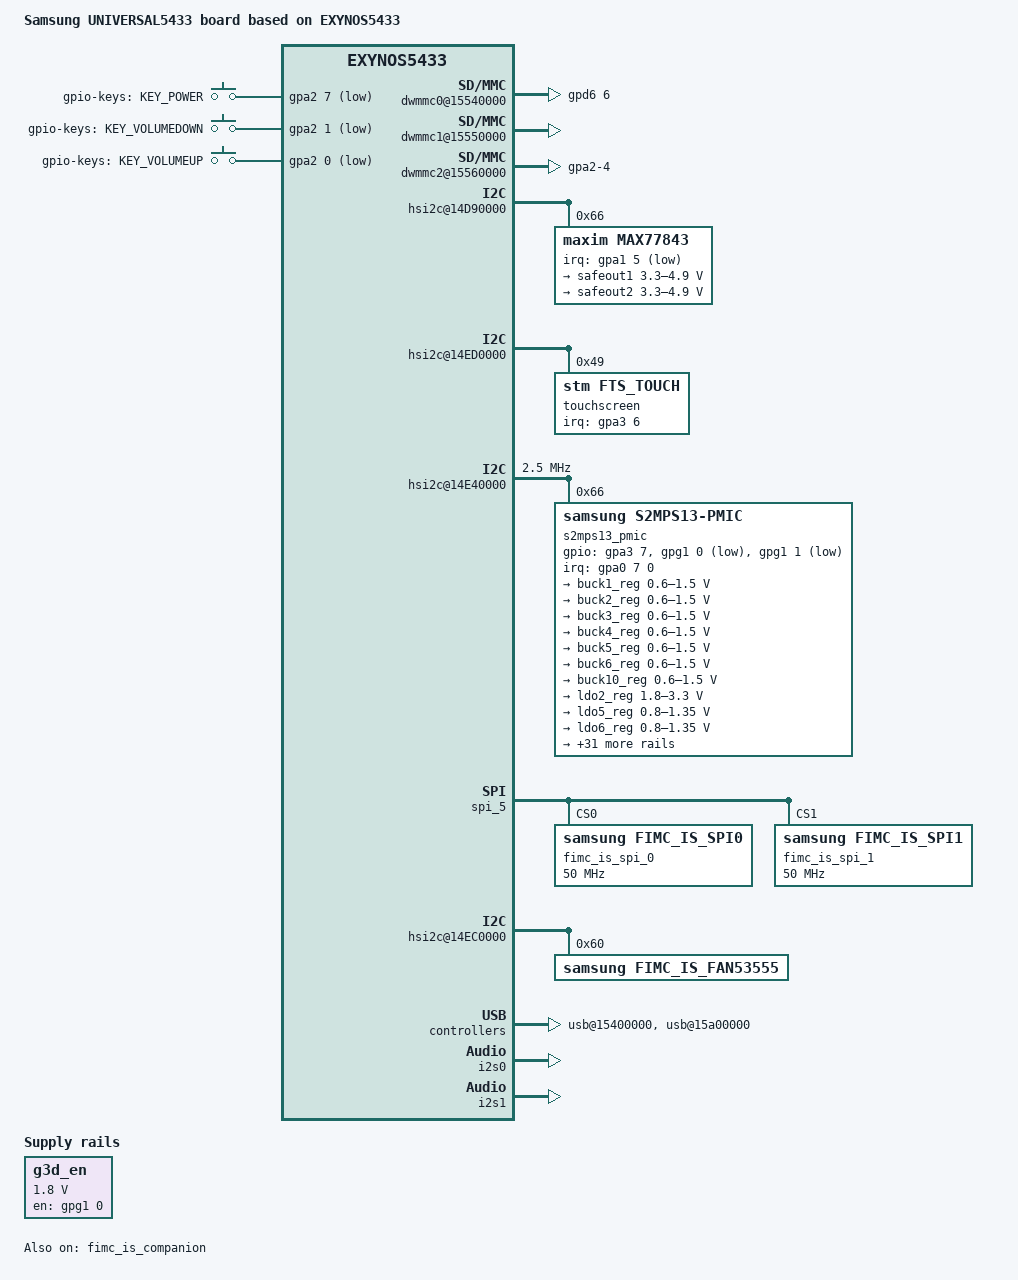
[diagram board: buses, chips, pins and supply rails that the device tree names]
/*
 * SAMSUNG UNIVERSAL5433 board device tree source
 *
 * Copyright (c) 2013 Samsung Electronics Co., Ltd.
 *		http://www.samsung.com
 *
 * This program is free software; you can redistribute it and/or modify
 * it under the terms of the GNU General Public License version 2 as
 * published by the Free Software Foundation.
*/

/dts-v1/;
#include "exynos5433.dtsi"
#include "exynos5433-universal5433_battery.dtsi"

/ {
	model = "Samsung UNIVERSAL5433 board based on EXYNOS5433";
	compatible = "samsung,UNIVERSAL5433", "samsung,exynos5433";

	aliases {
		spi0 = &spi_0;
		spi1 = &spi_1;
		spi2 = &spi_2;
		spi3 = &spi_3;
		spi4 = &spi_4;
		spi5 = &spi_5;
		spi6 = &spi_6;
	};

	chosen {
		bootargs = "console=ttySAC1,115200 vmalloc=256M ess_setup=0x26000000";
	};

	fixed-rate-clocks {
		oscclk {
			compatible = "samsung,exynos5433-oscclk";
			clock-frequency = <24000000>;
		};
	};

	dwmmc0@15540000 {
		status = "okay";
		num-slots = <1>;
		broken-cd;
		bypass-smu;
		clock-gate;
		enable-cclk-on-suspend;
		fixed_volt;
		only_once_tune;
		supports-highspeed;
		supports-hs200-1-8v-mode;
		supports-ddr200-1-8v-mode;
		enable-cache-control;
		use-fine-tuning;
		extra_tuning;
		bypass-for-allpass;
		desc-size = <3>;
		fifo-depth = <0x80>;
		qos_int_level = <267000>;
		use-enable-shift;
		enable-ulp-mode;
		card-detect-delay = <200>;
		samsung,dw-mshc-ddr200-delay-line = <0x40>;
		samsung,dw-mshc-ddr200-tx-delay-line = <0x20>;
		samsung,dw-mshc-txdt-crc-timer-fastlimit = <0x34>;
		samsung,dw-mshc-txdt-crc-timer-initval = <0x38>;
		samsung,dw-mshc-ciu-div = <3>;
		samsung,dw-mshc-sdr-timing = <3 0 2 0>;
		samsung,dw-mshc-sdr-hs-timing = <3 0 2 1>;
		samsung,dw-mshc-ddr-timing = <3 0 3 2>;
		samsung,dw-mshc-hs200-timing = <3 0 3 0>;
		samsung,dw-mshc-ddr200-timing = <1 1 2 0>;
		samsung,dw-mshc-ddr200-ulp-timing = <3 0 3 0>;
		clk_pin = "gpr0-0";
		clk_addr = "15690000.pinctrl";
		clk_val = <0x3>;
		clk_str_num = <6>;
		num-ref-clks = <10>;
		ciu_clkin = <25 50 50 100 200 100 200 400 400 200>;
		tp_mon_depth = <2>;
		              /* Byte/s,  MIF clk, CPU clk, KFC clk*/
		tp_mon_table = <8000000 825000	0	1300000
				0	0	0	0>;
		pinctrl-names = "default";
		pinctrl-0 = <&sd0_clk &sd0_cmd &sd0_rdqs &sd0_bus1 &sd0_bus4 &sd0_bus8>;
		gpios = <&gpd6 6 0>;
		slot@0 {
			reg = <0>;
			bus-width = <8>;
		};
	};

	dwmmc1@15550000 {
		status = "okay";
		num-slots = <1>;
		fixed_volt;
		clock-gate;
		enable-cclk-on-suspend;
		only_once_tune;
		supports-highspeed;
		not-allow-single-dma;
		desc-size = <3>;
		fifo-depth = <0x40>;
		card-detect-delay = <200>;
		qos_int_level = <200000>;
		samsung,dw-mshc-ciu-div = <3>;
		samsung,dw-mshc-sdr-timing = <3 0 2 1>;
		samsung,dw-mshc-ddr-timing = <3 0 3 2>;
		num-ref-clks = <8>;
		ciu_clkin = <25 50 50 100 200 100 200 400>;
		pinctrl-names = "default";
		pinctrl-0 = <&sd1_clk &sd1_cmd &sd1_bus1 &sd1_bus4>;

		slot@0 {
			reg = <0>;
			bus-width = <4>;
		};
	};

	dwmmc2@15560000 {
		status = "okay";
		num-slots = <1>;
		bypass-smu;
		supports-highspeed;
		clock-gate;
		enable-cclk-on-suspend;
		fix-fmp-size-mismatch;
		not-allow-single-dma;
		desc-size = <3>;
		use-fine-tuning;
		bypass-for-allpass;
		cd-type = <0>;
		fifo-depth = <0x40>;
		card-detect-delay = <200>;
		qos_int_level = <267000>;
		samsung,dw-mshc-ciu-div = <3>;
		samsung,dw-mshc-sdr-timing = <3 0 2 1>;
		samsung,dw-mshc-ddr-timing = <3 0 3 2>;
		clk_pin = "gpr4-0";
		clk_addr = "15690000.pinctrl";
		clk_val = <0x2>;
		clk_str_num = <6>;
		num-ref-clks = <8>;
		ciu_clkin = <25 50 50 100 200 100 200 400>;
		pinctrl-names = "default";
		pinctrl-0 = <&sd2_clk &sd2_cmd &sd2_cd &sd2_bus1 &sd2_bus4 &dwmmc2_cd_ext_irq>;

		gpio-controller;
		#gpio-cells = <2>;
		cd-gpio = <&gpa2 4 0xf>;

		slot@0 {
			reg = <0>;
			bus-width = <4>;
			disable-wp;
		};
	};

	pinctrl@10580000 {
		gpa2_pull_up: gpa2_pull_up_for_gpio_key {
			samsung,pins = "gpa2-0", "gpa2-1", "gpa2-7";
			samsung,pin-function = <0xf>;
			samsung,pin-pud = <3>;
			samsung,pin-drv = <0>;
		};
		dwmmc2_cd_ext_irq: dwmmc2_cd_ext_irq {
			samsung,pins = "gpa2-4";
			samsung,pin-function = <0xf>;
			samsung,pin-pud = <3>;
			samsung,pin-drv = <0>;
		};
		pmic_irq: pmic-irq {
			samsung,pins = "gpa0-7";
			samsung,pin-pud = <3>;
			samsung,pin-drv = <3>;
		};

		chg_irq: chg-irq {
			samsung,pins = "gpa1-5";
			samsung,pin-function = <0>;
			samsung,pin-pud = <3>;
			samsung,pin-drv = <3>;
		};

		/* Warm reset information from AP */
		pm_wrsti: pm-wrsti {
			samsung,pins = "gpf5-4";
			samsung,pin-con-pdn = <3>;
		};
	};

	gpio_keys {
		compatible = "gpio-keys";
		#address-cells = <1>;
		#size-cells = <0>;
		pinctrl-names = "default";
		pinctrl-0 = <&gpa2_pull_up>;
		button@1 {
			label = "gpio-keys: KEY_POWER";
			interrupts = <7 0 0>;
			interrupt-parent = <&gpa2>;
			linux,code = <116>;
			gpios = <&gpa2 7 0xf>;
			gpio-key,wakeup = <1>;
		};
		button@2 {
			label = "gpio-keys: KEY_VOLUMEDOWN";
			interrupts = <1 0 0>;
			interrupt-parent = <&gpa2>;
			linux,code = <114>;
			gpios = <&gpa2 1 0xf>;
		};
		button@3 {
			label = "gpio-keys: KEY_VOLUMEUP";
			interrupts = <0 0 0>;
			interrupt-parent = <&gpa2>;
			linux,code = <115>;
			gpios = <&gpa2 0 0xf>;
		};
	};

	hsi2c@14D90000 {
		max77843@66 {
			compatible = "maxim,max77843";
			reg = <0x66>;
			pinctrl-names = "default";
			pinctrl-0 = <&chg_irq>;
			max77843,irq-gpio = <&gpa1 5 1>;
			max77843,wakeup;

			regulators {
				safeout1: ESAFEOUT1 {
					regulator-compatible = "safeout1";
					regulator-name = "safeout1_range";
					regulator-min-microvolt = <3300000>;
					regulator-max-microvolt = <4900000>;
					regulator-boot-on;
				};

				safeout2: ESAFEOUT2 {
					regulator-compatible = "safeout2";
					regulator-name = "safeout2_range";
					regulator-min-microvolt = <3300000>;
					regulator-max-microvolt = <4900000>;
				};
			};
		};
	};

	pinctrl@10580000 {
		attn_irq: attn-irq {
			samsung,pins = "gpa3-6";
			samsung,pin-function = <0xf>;
			samsung,pin-pud = <0>;
			samsung,pin-drv = <0>;
		};

		attn_input: attn-input {
			samsung,pins = "gpa3-6";
			samsung,pin-function = <0>;
			samsung,pin-pud = <1>;
			samsung,pin-drv = <0>;
		};
	};

	pinctrl@14CE0000 {
		i2c_pdn_off: i2c-pdn_off {
			samsung,pins = "gpj1-1", "gpj1-0";
			samsung,pin-con-pdn = <2>;
			samsung,pin-pud-pdn = <1>;
		};
	};

	hsi2c@14D90000 {
		status = "okay";

		max77843@66 {
			status = "okay";
		};
	};

	hsi2c@14ED0000 {
		status = "okay";
		touchscreen@20 {
			compatible = "stm,fts_touch";
			reg = <0x49>;
			pinctrl-names = "on_state", "off_state";
			pinctrl-0 = <&attn_irq>;
			pinctrl-1 = <&attn_input &i2c_pdn_off>;
			stm,irq_gpio = <&gpa3 6 0>;
			stm,irq_type = <8200>;
			stm,max_coords = <1439 2559>;	/* x y */
			stm,regulator_dvdd = "tsp_io";
			stm,regulator_avdd = "tsp_avdd";
			stm,firmwaire_name = "tsp_stm/stm_t.fw";
		};
	};

	g3d_en: fixedregulator@0 {
		compatible = "regulator-fixed";
		regulator-name = "G3D_EN";
		regulator-min-microvolt = <1800000>;
		regulator-max-microvolt = <1800000>;
		gpio = <&gpg1 0 0x1>;
		enable-active-high;
		regulator-boot-on;
		/* startup-delay-us = <70000>; */
	};

	hsi2c@14E40000 {
		status = "okay";
		samsung,hs-mode;
		clock-frequency = <2500000>;

		s2mps13_pmic@66 {
			compatible = "samsung,s2mps13-pmic";
			reg = <0x66>;
			interrupts = <7 0 0>;
			interrupt-parent = <&gpa0>;
			pinctrl-names = "default";
			pinctrl-0 = <&pmic_irq &pm_wrsti>;
			gpios = <&gpa3 7 0>, <&gpg1 0 0x1>, <&gpg1 1 0x1>;
			smpl_warn_en = <0>; /* 1 : enable , 0 : disable*/
			g3d_en = <0>; /* 1 : enable , 0 : disable */
			dvs_en = <1>; /* 1 : enable , 0 : disable */
			/* RTC: wtsr/smpl */
			wtsr_en = <1>; /* enable */
			smpl_en = <1>; /* enable */
			wtsr_timer_val = <3>;	/* 1000ms */
			smpl_timer_val = <4>;	/* 500ms */
			check_jigon = <0>; /* do not check jigon */
			/* RTC: If it's first boot, reset rtc to 1/1/2014 12:00:00(Wed) */
			init_time,sec = <0>;
			init_time,min = <0>;
			init_time,hour = <12>;
			init_time,mday = <1>;
			init_time,mon = <0>;
			init_time,year = <114>;
			init_time,wday = <3>;

			regulators {
				buck1_reg: BUCK1 {
					regulator-name = "vdd_mif";
					regulator-min-microvolt = <600000>;
					regulator-max-microvolt = <1500000>;
					regulator-always-on;
					regulator-boot-on;
					regulator-ramp-delay = <12000>;
					regulator-initial-mode = <1>;
				};

				buck2_reg: BUCK2 {
					regulator-name = "vdd_eagle";
					regulator-min-microvolt = <600000>;
					regulator-max-microvolt = <1500000>;
					regulator-always-on;
					regulator-boot-on;
					regulator-ramp-delay = <12000>;
					regulator-initial-mode = <1>;
				};

				buck3_reg: BUCK3 {
					regulator-name = "vdd_kfc";
					regulator-min-microvolt = <600000>;
					regulator-max-microvolt = <1500000>;
					regulator-always-on;
					regulator-boot-on;
					regulator-ramp-delay = <12000>;
					regulator-initial-mode = <1>;
				};

				buck4_reg: BUCK4 {
					regulator-name = "vdd_int";
					regulator-min-microvolt = <600000>;
					regulator-max-microvolt = <1500000>;
					regulator-always-on;
					regulator-boot-on;
					regulator-ramp-delay = <12000>;
					regulator-initial-mode = <1>;
				};

				buck5_reg: BUCK5 {
					regulator-name = "vdd_disp_cam0";
					regulator-min-microvolt = <600000>;
					regulator-max-microvolt = <1500000>;
					regulator-always-on;
					regulator-boot-on;
					regulator-ramp-delay = <12000>;
					regulator-initial-mode = <1>;
				};

				buck6_reg: BUCK6 {
					regulator-name = "vdd_g3d";
					regulator-min-microvolt = <600000>;
					regulator-max-microvolt = <1500000>;
					regulator-always-on;
					regulator-boot-on;
					regulator-ramp-delay = <12000>;
					regulator-initial-mode = <1>;
				};

				buck10_reg: BUCK10 {
					regulator-name = "vdd_mem2";
					regulator-min-microvolt = <600000>;
					regulator-max-microvolt = <1500000>;
					regulator-always-on;
					regulator-boot-on;
					regulator-ramp-delay = <12000>;
					regulator-initial-mode = <1>;
				};

				ldo2_reg: LDO2 {
					regulator-name = "vqmmc";
					regulator-min-microvolt = <1800000>;
					regulator-max-microvolt = <3300000>;
					regulator-boot-on;
					regulator-ramp-delay = <12000>;
					regulator-initial-mode = <1>;
				};

				ldo5_reg: LDO5 {
					regulator-name = "vdd_ldo5";
					regulator-min-microvolt = <800000>;
					regulator-max-microvolt = <1350000>;
					regulator-always-on;
					regulator-initial-mode = <1>;
				};

				ldo6_reg: LDO6 {
					regulator-name = "vdd_ldo6";
					regulator-min-microvolt = <800000>;
					regulator-max-microvolt = <1350000>;
					regulator-always-on;
					regulator-initial-mode = <1>;
				};

				ldo7_reg: LDO7 {
					regulator-name = "vdd_ldo7";
					regulator-min-microvolt = <1000000>;
					regulator-max-microvolt = <2100000>;
					regulator-always-on;
					regulator-initial-mode = <1>;
				};

				ldo8_reg: LDO8 {
					regulator-name = "vdd_ldo8";
					regulator-min-microvolt = <1000000>;
					regulator-max-microvolt = <2100000>;
					regulator-always-on;
					regulator-initial-mode = <3>;
				};

				ldo9_reg: LDO9 {
					regulator-name = "vdd_ldo9";
					regulator-min-microvolt = <1000000>;
					regulator-max-microvolt = <2100000>;
					regulator-always-on;
					regulator-initial-mode = <1>;
				};

				ldo10_reg: LDO10 {
					regulator-name = "vdd_ldo10";
					regulator-min-microvolt = <1400000>;
					regulator-max-microvolt = <3400000>;
					regulator-always-on;
					regulator-initial-mode = <1>;
				};

				ldo11_reg: LDO11 {
					regulator-name = "vdd_ldo11";
					regulator-min-microvolt = <800000>;
					regulator-max-microvolt = <1350000>;
					regulator-always-on;
					regulator-initial-mode = <1>;
				};

				ldo12_reg: LDO12 {
					regulator-name = "vdd_ldo12";
					regulator-min-microvolt = <800000>;
					regulator-max-microvolt = <1350000>;
					regulator-always-on;
					regulator-initial-mode = <1>;
				};

				ldo13_reg: LDO13 {
					regulator-name = "vdd_ldo13";
					regulator-min-microvolt = <800000>;
					regulator-max-microvolt = <1350000>;
					regulator-always-on;
					regulator-initial-mode = <1>;
				};

				ldo14_reg: LDO14 {
					regulator-name = "vdd_ldo14";
					regulator-min-microvolt = <800000>;
					regulator-max-microvolt = <1350000>;
					regulator-always-on;
					regulator-initial-mode = <1>;
				};

				ldo15_reg: LDO15 {
					regulator-name = "vdd_ldo15";
					regulator-min-microvolt = <800000>;
					regulator-max-microvolt = <1350000>;
					regulator-always-on;
					regulator-initial-mode = <1>;
				};

				ldo16_reg: LDO16 {
					regulator-name = "vdd_ldo16";
					regulator-min-microvolt = <1400000>;
					regulator-max-microvolt = <3400000>;
					regulator-always-on;
					regulator-initial-mode = <1>;
				};

				ldo17_reg: LDO17 {
					regulator-name = "vdd_vmmc";
					regulator-min-microvolt = <1400000>;
					regulator-max-microvolt = <3400000>;
					regulator-always-on;
					regulator-initial-mode = <1>;
				};

				ldo18_reg: LDO18 {
					regulator-name = "vdd_ldo18";
					regulator-min-microvolt = <1000000>;
					regulator-max-microvolt = <2100000>;
					regulator-always-on;
					regulator-initial-mode = <3>;
				};

				ldo19_reg: LDO19 {
					regulator-name = "VDDA_1.8V_COMP";
					regulator-min-microvolt = <1800000>;
					regulator-max-microvolt = <1800000>;
				};

				ldo20_reg: LDO20 {
					regulator-name = "vdd_ldo20";
					regulator-min-microvolt = <1400000>;
					regulator-max-microvolt = <3400000>;
					regulator-always-on;
					regulator-initial-mode = <3>;
				};

				ldo21_reg: LDO21 {
					regulator-name = "VT_CAM_1.8V";
					regulator-min-microvolt = <1800000>;
					regulator-max-microvolt = <1800000>;
				};

				ldo22_reg: LDO22 {
					regulator-name = "CAM_IO_1.8V_AP";
					regulator-min-microvolt = <1800000>;
					regulator-max-microvolt = <1800000>;
				};

				ldo23_reg: LDO23 {
					regulator-name = "CAM_SEN_CORE_1.2V_AP";
					regulator-min-microvolt = <1200000>;
					regulator-max-microvolt = <1200000>;
				};

				ldo24_reg: LDO24 {
					regulator-name = "VT_CAM_1.2V";
					regulator-min-microvolt = <1200000>;
					regulator-max-microvolt = <1200000>;
				};

				ldo25_reg: LDO25 {
					regulator-name = "CAM_SEN_A2.8V_AP";
					regulator-min-microvolt = <2800000>;
					regulator-max-microvolt = <2800000>;
				};

				ldo26_reg: LDO26 {
					regulator-name = "CAM_AF_2.8V_AP";
					regulator-min-microvolt = <2800000>;
					regulator-max-microvolt = <2800000>;
				};

				ldo27_reg: LDO27 {
					regulator-name = "vdd_ldo27";
					regulator-min-microvolt = <1400000>;
					regulator-max-microvolt = <3400000>;
					regulator-always-on;
					regulator-initial-mode = <3>;
				};

				ldo28_reg: LDO28 {
					regulator-name = "vdd_ldo28";
					regulator-min-microvolt = <1000000>;
					regulator-max-microvolt = <2100000>;
					regulator-always-on;
					regulator-initial-mode = <3>;
				};

				ldo29_reg: LDO29 {
					regulator-name = "VT_CAM_2.8V";
					regulator-min-microvolt = <2800000>;
					regulator-max-microvolt = <2800000>;
					regulator-always-on;
					regulator-initial-mode = <3>;
				};

				ldo30_reg: LDO30 {
					regulator-name = "tsp_avdd";
					regulator-min-microvolt = <1400000>;
					regulator-max-microvolt = <3400000>;
					regulator-always-on;
					regulator-initial-mode = <3>;
				};

				ldo31_reg: LDO31 {
					regulator-name = "tsp_io";
					regulator-min-microvolt = <1000000>;
					regulator-max-microvolt = <2100000>;
					regulator-always-on;
					regulator-initial-mode = <3>;
				};

				ldo32_reg: LDO32 {
					regulator-name = "vdd_ldo32";
					regulator-min-microvolt = <1000000>;
					regulator-max-microvolt = <2100000>;
					regulator-always-on;
					regulator-initial-mode = <3>;
				};

				ldo33_reg: LDO33 {
					regulator-name = "vdd_ldo33";
					regulator-min-microvolt = <1400000>;
					regulator-max-microvolt = <3400000>;
					regulator-always-on;
					regulator-initial-mode = <3>;
				};

				ldo34_reg: LDO34 {
					regulator-name = "vdd_ldo34";
					regulator-min-microvolt = <1000000>;
					regulator-max-microvolt = <2100000>;
					regulator-always-on;
					regulator-initial-mode = <3>;
				};
				ldo36_reg: LDO36 {
					regulator-name = "vdd_ldo36";
					regulator-min-microvolt = <800000>;
					regulator-max-microvolt = <1350000>;
					regulator-always-on;
					regulator-initial-mode = <3>;
				};

				ldo37_reg: LDO37 {
					regulator-name = "vdd_ldo37";
					regulator-min-microvolt = <1000000>;
					regulator-max-microvolt = <2100000>;
					regulator-always-on;
					regulator-initial-mode = <3>;
				};

				ldo38_reg: LDO38 {
					regulator-name = "vdd_ldo38";
					regulator-min-microvolt = <1400000>;
					regulator-max-microvolt = <3400000>;
					regulator-always-on;
					regulator-initial-mode = <3>;
				};
			};
		};
	};

	ion {
		compatible = "samsung,exynos5430-ion";

		contig-names = "common",
			       "mfc_sh",
			       "g2d_wfd",
			       "video",
			       "sectbl",
			       "mfc_fw",
			       "mfc_nfw",
			       "secdma";

		contig = <0 0x400000 0x0>,
		         <2 0x100000 0x0>,
		         <10 0x800000 0x0>,
		         <11 0xA800000 0x0>,
		         <9 0x100000 0x0>,
		         <8 0x100000 0x0>,
		         <12 0x100000 0x0>,
		         <13 0x20000 0x0>;

		contig-isolate_on_boot = <0>, <2>, <8>,
					  <9>, <10>, <11>, <12>, <13>;

		ion_noncontig_heap {
			id-type = <0 0>;
		};

		exynos_contig_heap {
			id-type = <4 6>;
		};
	};

	/*disp_driver {*/
	decon_fb: decon_fb {
		lcd_info = <&s6e3ha2>;

		decon: decon_ctrl {
			samsung,max_bpp = <32>;
			samsung,default_bpp = <24>;

			fb_driver_data {
				fb_win_variant_0 {
					has_osd_c = <1>;
					has_osd_d = <1>;
					osd_size_off = <0x08>;
					palette_size = <256>;
					VALID_BPP_1248 = <1>;
					VALID_BPP_13 = <1>;
					VALID_BPP_15 = <1>;
					VALID_BPP_16 = <1>;
					VALID_BPP_18 = <1>;
					VALID_BPP_19 = <1>;
					VALID_BPP_24 = <1>;
					VALID_BPP_25 = <1>;
					VALID_BPP_32 = <1>;
				};
				fb_win_variant_1 {
					has_osd_c = <1>;
					has_osd_d = <1>;
					has_osd_alpha = <1>;
					osd_size_off = <0x0c>;
					palette_size = <256>;
					VALID_BPP_1248 = <1>;
					VALID_BPP_13 = <1>;
					VALID_BPP_15 = <1>;
					VALID_BPP_16 = <1>;
					VALID_BPP_18 = <1>;
					VALID_BPP_19 = <1>;
					VALID_BPP_24 = <1>;
					VALID_BPP_25 = <1>;
					VALID_BPP_32 = <1>;
				};
				fb_win_variant_2 {
					has_osd_c = <1>;
					has_osd_d = <1>;
					has_osd_alpha = <1>;
					osd_size_off = <0x0c>;
					palette_size = <256>;
					VALID_BPP_1248 = <1>;
					VALID_BPP_13 = <1>;
					VALID_BPP_15 = <1>;
					VALID_BPP_16 = <1>;
					VALID_BPP_18 = <1>;
					VALID_BPP_19 = <1>;
					VALID_BPP_24 = <1>;
					VALID_BPP_25 = <1>;
					VALID_BPP_32 = <1>;
				};
				fb_win_variant_3 {
					has_osd_c = <1>;
					has_osd_alpha = <1>;
					palette_size = <256>;
					VALID_BPP_1248 = <1>;
					VALID_BPP_13 = <1>;
					VALID_BPP_15 = <1>;
					VALID_BPP_16 = <1>;
					VALID_BPP_18 = <1>;
					VALID_BPP_19 = <1>;
					VALID_BPP_24 = <1>;
					VALID_BPP_25 = <1>;
					VALID_BPP_32 = <1>;
				};
				fb_win_variant_4 {
					has_osd_c = <1>;
					has_osd_alpha = <1>;
					palette_size = <256>;
					VALID_BPP_1248 = <1>;
					VALID_BPP_13 = <1>;
					VALID_BPP_15 = <1>;
					VALID_BPP_16 = <1>;
					VALID_BPP_18 = <1>;
					VALID_BPP_19 = <1>;
					VALID_BPP_24 = <1>;
					VALID_BPP_25 = <1>;
					VALID_BPP_32 = <1>;
				};
			};
		};

		mipi_dsi: mipi_dsi {
			/* gpios = <&gpv7 2 0x1>; */
			gpios = <&gpv7 2 0x1>, <&gpf1 5 0x1>;

			/* Interface definition: 0 - DSIM_COMMAND,
						 1 - DSIM_VDEO */
			e_interface = <0>;

			/* Pixel format : 0 - DSIM_CMD_3BPP,
					  1 - DSIM_CMD_8BPP,
					  2 - DSIM_CMD_12BPP,
					  3 - DSIM_CMD_16BPP,
					  4 - DSIM_VID_16BPP_565,
					  5 - DSIM_VID_18BPP_666PACKED,
					  6 - DSIM_18BPP_666LOOSELYPACKED,
					  7 - DSIM_24BPP_888 */
			e_pixel_format = <7>;

			/* main frame fifo auto flush at VSYNC pulse */
			auto_flush = <0>;
			eot_disable = <1>;
			auto_vertical_cnt = <0>;
			hse = <0>;
			hfp = <0>;
			hbp = <0>;
			hsa = <0>;

			/* num of data lane : 0 - DSIM_DATA_LANE_1,
					      1 - DSIM_DATA_LANE_2,
					      2 - DSIM_DATA_LANE_3,
					      3 - DSIM_DATA_LANE_4 */
			e_no_data_lane = <3>;
			/* byte clock divider : 0 - DSIM_PLL_OUT_DIV8,
						1 - DSIM_EXT_CLK_DIV8,
						2 - DSIM_EXT_CLK_BYPASS */
			e_byte_clk = <0>;
			/* Burst mode : 0 - DSIM_NON_BURST_SYNC_EVENT,
					2 - DSIM_NON_BURST_SYNC_PULSE,
					1 - DSIM_BURST
					4 - DSIM_NON_VIDEO_MODE */
			e_burst_mode = <1>;

			/* D-PHY PLL stable time spec :min = 200usec ~ max 400usec */
			pll_stable_time = <500>;
			/* escape clk : 7MHz */
			esc_clk = <7000000>;
			/* stop state holding counter after bta change count 0 ~ 0xfff */
			stop_holding_cnt = <0x0fff>;
			/* bta timeout 0 ~ 0xff */
			bta_timeout = <0xff>;
			/* lp rx timeout 0 ~ 0xffff */
			rx_timeout = <0xffff>;
		};
		decon_mic: decon_mic {
			sysreg1 = <0x13B81004>;
			sysreg2 = <0x13B81048>;
		};
		s6e3ha2: s6e3ha2_wqhd {
			mode = <0>;
			resolution = <1440 2560>;
			size = <70 121>;
			timing,refresh = <60>;
			timing,h-porch = <1 1 1>;
			timing,v-porch = <1 1 15>;
			timing,dsi-hs-clk = <1100>;
			timing,dsi-escape-clk = <20>;
			timing,hsync-2h-cycle = <1>;
			mic = <1>;
			mic_ver = <2>;
			type_of_ddi = <0>; /* 0:Samsung Mobile, 1:MAGNA, 2:Normal(Etc) */
		};


	};

	spi_5: spi@141a0000 {
		clocks = <&clock 2626>, <&clock 4083>; /* Workaround for SPI read in A5 */
		clock-names = "spi", "spi_busclk0";    /* Must be removed later */
		#address-cells = <1>;
		#size-cells = <0>;

		num-cs = <2>;

		fimc_is_spi_0@0 {
			compatible = "samsung,fimc_is_spi0";
			spi-max-frequency = <50000000>;
			reg = <0x0>;

			controller-data {
				cs-gpio = <&gpc0 6 0>;
				samsung,spi-feedback-delay = <0>;
			};
		};

		fimc_is_spi_1@1 {
			compatible = "samsung,fimc_is_spi1";
			fimc_is_spi_sclk = "gpc3-0";
			fimc_is_spi_ssn = "gpc3-1";
			fimc_is_spi_miso = "gpc3-2";
			fimc_is_spi_mois = "gpc3-3";
			spi-max-frequency = <50000000>;
			reg = <0x1>;
			pinctrl-names = "default";
			pinctrl-0 = <&fimc_is_comp_int>;

			controller-data {
				cs-gpio = <&gpc3 1 0>;
				samsung,spi-feedback-delay = <0>;
			};
		};
	};

	hsi2c@14EC0000 {
		status = "okay";
		fimc_is_fan53555@60 {
			compatible = "samsung,fimc_is_fan53555";
			reg = <0x60>;
			comp_en = <&gpf1 7 0x01>;
			status = "okay";
		};
	};

	/* Companion driver */
	fimc_is_companion: fimc_is_companion@14180000 {
		compatible = "samsung,exynos5-fimc-is-companion";
		samsung,power-domain = <&pd_cam1>;
		clock-names =
			/* SENSOR0 MCLK */
			"sclk_isp_sensor0",		/* 33 */
			"mout_sclk_isp_sensor0",	/* 3066 */
			"dout_sclk_isp_sensor0_a",	/* 4090 */
			"dout_sclk_isp_sensor0_b",	/* 4091 */

			"mout_bus_pll_user",		/* 3010 */
			"oscclk",			/* 5000 */

			/* SPI-ISP */
			"sclk_isp_spi0_top",		/* 30 */
			"sclk_isp_spi1_top",		/* 31 */
			"mout_sclk_isp_spi0",		/* 3063 */
			"mout_sclk_isp_spi1",		/* 3064 */

			"gate_isp_spi1",		/* 2625 */
			"gate_isp_spi0",		/* 2626 */
			"dout_sclk_isp_spi0_a",		/* 4080 */
			"dout_sclk_isp_spi0_b",		/* 4081 */
			"dout_sclk_isp_spi1_a",		/* 4082 */
			"dout_sclk_isp_spi1_b",		/* 4083 */

			"mout_sclk_isp_spi0_user",	/* 3180 */
			"mout_sclk_isp_spi1_user",	/* 3181 */

			/* CMU TOP */
			"dout_aclk_cam1_333",		/* 4047 */

			/* USER_MUX_SEL */
			"aclk_cam1_333",		/* 342 */
			"mout_aclk_cam1_333_user",	/* 3225 */

			/* MPWM */
			"dout_pclk_cam1_166",		/* 4183 */
			"dout_pclk_cam1_83",		/* 4184 */
			"dout_sclk_isp_mpwm";		/* 4185 */
		clocks =
			/* SENSOR0 MCLK */
			<&clock 33>,
			<&clock 3066>,
			<&clock 4090>,
			<&clock 4091>,

			<&clock 3010>,
			<&clock 5000>,

			/* SPI-ISP */
			<&clock 30>,
			<&clock 31>,
			<&clock 3063>,
			<&clock 3064>,

			<&clock 2625>,
			<&clock 2626>,
			<&clock 4080>,
			<&clock 4081>,
			<&clock 4082>,
			<&clock 4083>,

			<&clock 3180>,
			<&clock 3181>,

			/* CMU TOP */
			<&clock 4047>,

			/* USER_MUX_SEL */
			<&clock 342>,
			<&clock 3225>,

			/* MPWM */
			<&clock 4183>,
			<&clock 4184>,
			<&clock 4185>;
		pinctrl-names ="default", "ch0", "af0", "off0";
		pinctrl-0 = <&fimc_is_ch0_mclk_off>;
		pinctrl-1 = <&fimc_is_ch0_i2c &fimc_is_ch0_mclk>;
		pinctrl-2 = <&fimc_is_ch0_i2c &fimc_is_ch0_mclk &fimc_is_ch1_i2c>;
		pinctrl-3 = <&fimc_is_ch0_mclk_off>;

		scenario = <0>;
		mclk_ch = <0>;
		gpio_reset = <&gpc0 4 0x1>;
		gpios_comp_en = <&gpf1 7 0x1>; /* COMP_EN */
		gpios_comp_reset = <&gpf5 7 0x1>; /* COMP_rstn */

		status = "okay";
	};

	fimc_is_sensor0: fimc_is_sensor@12100000 {
		scenario = <0>;
		gpio_reset = <&gpc0 4 0x1>;
		id = <0>;
		mclk_ch = <0>;
		csi_ch = <0>;
		flite_ch = <0>;
		i2c_ch = <0x100>;
		i2c_addr = <0x3434>;
		flash_first_gpio = <1>;
		flash_second_gpio = <2>;
		sensor_name = "imx240";
		sensor_id = <104>;
		is_bns = <1>;
		status = "okay";
	};

	fimc_is_sensor1: fimc_is_sensor@12110000 {
		pinctrl-names ="default", "ch1", "off1";
		pinctrl-0 = <&fimc_is_ch2_mclk_off>;
		pinctrl-1 = <&fimc_is_ch2_i2c &fimc_is_vision_i2c &fimc_is_ch2_mclk>;
		pinctrl-2 = <&fimc_is_ch2_mclk_off>;

		scenario = <0>;
		gpio_reset = <&gpc0 3 0x1>;
		gpio_standby = <&gpc0 0 0x1>;
		id = <1>;
		mclk_ch = <2>;
		csi_ch = <1>;
		flite_ch = <1>;
		i2c_ch = <0x2>;
		i2c_addr = <0x6A>;
		sensor_name = "6d1";
		sensor_id = <16>;
		is_bns = <0>;
		status = "okay";
	};

	fimc_is@14000000 {
		interrupts = <0 165 0>; /* Remove ISP_GIC to use FIMC IS i2c channel in host */
		companion_spi_channel = <0>;
		use_vision = <0>;
		use_sensor_dynamic_voltage_mode = <1>;
		fimc_is_dvfs {
			default_int = <400000>; /* L0 */
			default_cam = <777000>; /* L0 */
			default_mif = <825000>; /* L0 */
			default_i2c = <0>;

			front_preview_int = <267000>; /* L2 */
			front_preview_cam = <111000>; /* L9 */
			front_preview_mif = <543000>; /* L2 */
			front_preview_i2c = <0>;

			front_capture_int = <267000>; /* L2 */
			front_capture_cam = <111000>; /* L9 */
			front_capture_mif = <543000>; /* L2 */
			front_capture_i2c = <0>;

			front_camcording_int = <267000>; /* L2 */
			front_camcording_cam = <111000>; /* L9 */
			front_camcording_mif = <543000>; /* L2 */
			front_camcording_i2c = <0>;

			front_vt1_int = <200000>; /* L3 */
			front_vt1_cam = <111000>; /* L9 */
			front_vt1_mif = <543000>; /* L2 */
			front_vt1_i2c = <0>;

			front_vt2_int = <200000>; /* L3 */
			front_vt2_cam = <111000>; /* L9 */
			front_vt2_mif = <543000>; /* L2 */
			front_vt2_i2c = <0>;

			rear_preview_fhd_bns_off_int = <267000>; /* L2 */
			rear_preview_fhd_bns_off_cam = <200000>; /* L8 */
			rear_preview_fhd_bns_off_mif = <543000>; /* L2 */
			rear_preview_fhd_bns_off_i2c = <0>;

			rear_preview_fhd_int = <267000>; /* L2 */
			rear_preview_fhd_cam = <333000>; /* L6 */
			rear_preview_fhd_mif = <543000>; /* L2 */
			rear_preview_fhd_i2c = <0>;

			rear_preview_whd_int = <334000>; /* L1 */
			rear_preview_whd_cam = <600000>; /* L2 */
			rear_preview_whd_mif = <667000>; /* L1 */
			rear_preview_whd_i2c = <0>;

			rear_preview_uhd_int = <400000>; /* L0 */
			rear_preview_uhd_cam = <666000>; /* L1 */
			rear_preview_uhd_mif = <825000>; /* L0 */
			rear_preview_uhd_i2c = <0>;

			rear_capture_int = <400000>; /* L0 */
			rear_capture_cam = <777000>; /* L0 */
			rear_capture_mif = <667000>; /* L1 */
			rear_capture_i2c = <0>;

			rear_camcording_fhd_bns_off_int = <267000>; /* L2 */
			rear_camcording_fhd_bns_off_cam = <580000>; /* L3 */
			rear_camcording_fhd_bns_off_mif = <543000>; /* L2 */
			rear_camcording_fhd_bns_off_i2c = <0>;

			rear_camcording_fhd_int = <267000>; /* L2 */
			rear_camcording_fhd_cam = <555000>; /* L4 */
			rear_camcording_fhd_mif = <543000>; /* L2 */
			rear_camcording_fhd_i2c = <0>;

			rear_camcording_whd_int = <334000>; /* L1 */
			rear_camcording_whd_cam = <600000>; /* L2 */
			rear_camcording_whd_mif = <667000>; /* L1 */
			rear_camcording_whd_i2c = <0>;

			rear_camcording_uhd_int = <400000>; /* L0 */
			rear_camcording_uhd_cam = <666000>; /* L1 */
			rear_camcording_uhd_mif = <825000>; /* L0 */
			rear_camcording_uhd_i2c = <0>;

			dual_preview_int = <334000>; /* L1 */
			dual_preview_cam = <444000>; /* L5 */
			dual_preview_mif = <825000>; /* L0 */
			dual_preview_i2c = <0>;

			dual_capture_int = <400000>; /* L0 */
			dual_capture_cam = <777000>; /* L0 */
			dual_capture_mif = <825000>; /* L0 */
			dual_capture_i2c = <0>;

			dual_camcording_int = <334000>; /* L1 */
			dual_camcording_cam = <444000>; /* L5 */
			dual_camcording_mif = <825000>; /* L0 */
			dual_camcording_i2c = <0>;

			high_speed_fps_int = <400000>; /* L0 */
			high_speed_fps_cam = <222000>; /* L7 */
			high_speed_fps_mif = <825000>; /* L0 */
			high_speed_fps_i2c = <0>;

			dis_enable_int = <400000>; /* L0 */
			dis_enable_cam = <777000>; /* L0 */
			dis_enable_mif = <825000>; /* L0 */
			dis_enable_i2c = <0>;

			max_int = <400000>; /* L0 */
			max_cam = <777000>; /* L0 */
			max_mif = <825000>; /* L0 */
			max_i2c = <0>;
		};
	};

	pinctrl@14CC0000 {
		fimc_is_ch0_i2c: fimc-is-ch0_i2c {
			samsung,pins = "gpc2-1", "gpc2-0";
			samsung,pin-function = <2>;
			samsung,pin-pud = <3>;
			samsung,pin-drv = <3>;
		};
		fimc_is_ch1_i2c: fimc-is-ch1-i2c {
			samsung,pins = "gpc2-3", "gpc2-2";
			samsung,pin-function = <2>;
			samsung,pin-pud = <3>;
			samsung,pin-drv = <3>;
		};
		fimc_is_i2c_0: fimc-is-i2c-0 {
			samsung,pins = "gpc2-1", "gpc2-0";
                        samsung,pin-function = <2>;
                        samsung,pin-pud = <3>;
                        samsung,pin-drv = <3>;
		};
		fimc_is_flash: fimc-is-flash {
			samsung,pins = "gpc0-2", "gpc0-1";
			samsung,pin-function = <2>;
			samsung,pin-pud = <0>;
			samsung,pin-drv = <0>;
		};
		driver_flash: driver-flash {
			samsung,pins = "gpc0-2", "gpc0-1";
			samsung,pin-function = <1>;
			samsung,pin-pud = <0>;
			samsung,pin-drv = <0>;
		};
		fimc_is_comp_int: fimc-is-comp-int {
			samsung,pins = "gpc1-0";
			samsung,pin-function = <3>;
			samsung,pin-pud = <0>;
			samsung,pin-drv = <0>;
		};
		uart1_bus: uart1-bus {
			samsung,pins = "gpd1-1", "gpd1-0";
			samsung,pin-function = <2>;
			samsung,pin-pud = <0>;
		};
		fimc_is_ch0_mclk: fimc-is-ch0_mclk {
			samsung,pin-drv = <2>;
		};
		fimc_is_ch0_mclk_off: fimc-is-ch0_mclk_off {
			samsung,pins = "gpd7-0";
			samsung,pin-function = <1>;
			samsung,pin-pud = <1>;
			samsung,pin-drv = <0>;
		};
		fimc_is_vision_i2c: fimc-is-vision-i2c {
			samsung,pins = "gpd1-3", "gpd1-2";
			samsung,pin-function = <3>;
			samsung,pin-pud = <3>;
			samsung,pin-drv = <6>;
		};
		fimc_is_ch2_i2c: fimc-is-ch2-i2c {
			samsung,pins = "gpc2-5", "gpc2-4";
			samsung,pin-function = <2>;
			samsung,pin-pud = <3>;
			samsung,pin-drv = <6>;
		};
		fimc_is_ch2_mclk: fimc-is-ch2-mclk {
			samsung,pin-drv = <2>;
		};
		fimc_is_ch2_mclk_off: fimc-is-ch2_mclk_off {
			samsung,pins = "gpd7-2";
			samsung,pin-function = <1>;
			samsung,pin-pud = <1>;
			samsung,pin-drv = <0>;
		};
	};

	usb@15400000 {
		status = "okay";
		/* using gpio (1:use, 0:not use) */
		is_gpio = <0>;

		dwc3 {
			maximum-speed = "super-speed";
			dr_mode = "otg";
		};
	};

	usb@15a00000 {
		status = "okay";
		/* using gpio (1:use, 0:not use) */
		is_gpio = <0>;

		dwc3 {
			maximum-speed = "super-speed";
			dr_mode = "otg";
		};
	};

	ipa_pdata {
		compatible = "samsung,exynos-ipa";

		control_temp = <81>;
		temp_threshold = <30>;
		enabled = <1>;
		tdp = <3500>;
		boost = <1>;
		ros_power = <500>;
		a7_weight = <1024>;
		a15_weight = <256>;
		gpu_weight = <256>;
		a7_max_power = <1000>;
		a15_max_power = <6552>;
		gpu_max_power = <3110>;
		hotplug_out_threshold = <10>;
		hotplug_in_threshold = <0>;
		enable_ctlr = <1>;
		ctlr.mult = <2>;
		ctlr.k_i = <1>;
		ctlr.k_d = <0>;
		ctlr.feed_forward = <1>;
		ctlr.integral_reset_value = <0>;
		ctlr.integral_cutoff = <0>;
		ctlr.integral_reset_threshold = <10>;
	};

        usb_notifier {
                compatible = "samsung,usb-notifier";
        };

        muic {
                status = "disabled";
                muic,support-list = "MHL","OTG","Jig USB On","Jig UART Off",
                                    "Jig UART Off + VB","Jig UART On",
                                    "TA","USB","CDP","Unofficial",
                                    "Fuelgauge test";
        };

	i2s0: i2s@11440000 {
		status = "okay";
	};

	i2s1: i2s@14D60000 {
		status = "okay";
	};

	audio_codec_dummy: dummy-codec {
		compatible = "samsung,dummy-codec";
		status = "okay";
	};

        i2s_dummy: dummy-i2s {
                compatible = "samsung,dummy-i2s";
                status = "okay";
        };

	sound {
		compatible = "samsung,universal-dummy";
		samsung,audio-cpu = <&i2s0		 /* primary */
				     &i2s0>;		 /* secondary */
		samsung,audio-cpu-hdmi = <&i2s1>;	 /* hdmi */
		samsung,audio-codec = <&audio_codec_dummy
				       &audio_codec_dummy
				       &audio_codec_dummy>;
		status = "okay";
	};

	mipi-lli@10F24000 {
		modem-name = "xmm7260";
		modems {
			ss300 {
				/* disable scrambler */
				scrambler = <0>;
				/* do not control automode by AP */
				automode = <0>;
			};

			xmm7260 {
				/* disable scrambler */
				scrambler = <0>;
				/* do not control automode by AP */
				automode = <0>;
			};
		};

		mphy {
			modem-name = "xmm7260";
			modems {
				ss300 {
					/* initial-gear is HS-G1 */
					init-gear = <2 1 1>;
					/* use shared reference clock for MPHY */
					shd-refclk = <1>;
				};

				xmm7260 {
					/* initial-gear is HS-G1 */
					init-gear = <2 1 1>;
					/* use shared reference clock for MPHY */
					shd-refclk = <1>;
				};
			};
		};
	};

	hdmi@13970000 {
		/* all bit clock supports: 1, not support: 0 */
		audio_master_clk = <1>;
		gpios = <&gpa3 0 0xf>;
	};
};
